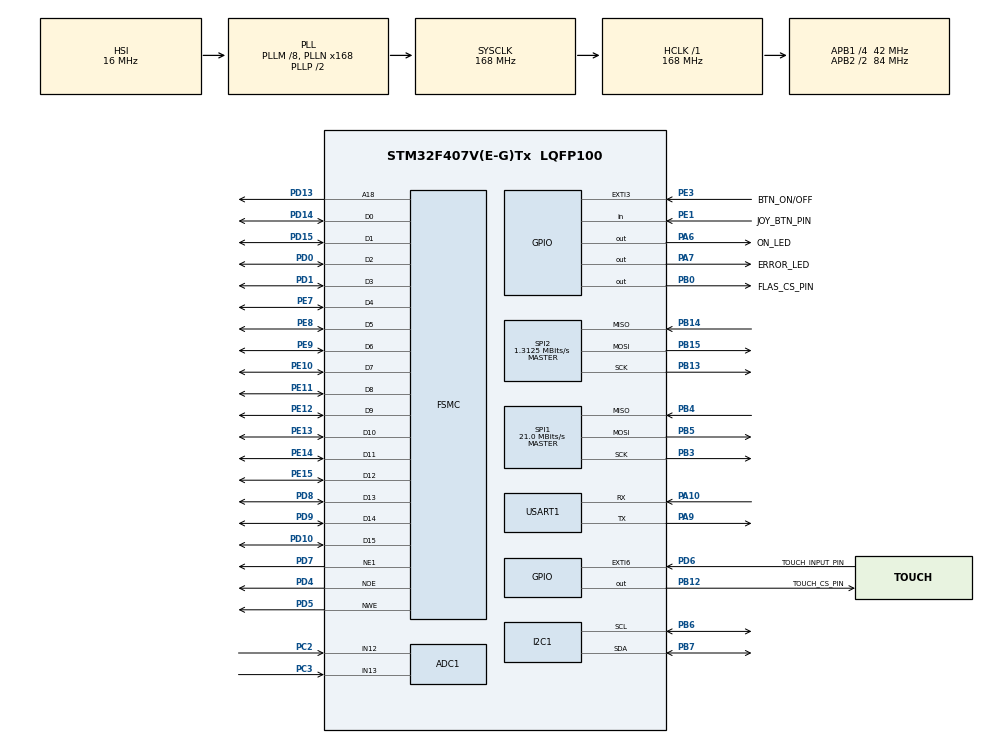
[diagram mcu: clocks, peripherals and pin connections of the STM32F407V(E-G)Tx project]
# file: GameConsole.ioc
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ADC1.Channel-1\#ChannelRegularConversion=ADC_CHANNEL_12
ADC1.Channel-2\#ChannelRegularConversion=ADC_CHANNEL_13
ADC1.ContinuousConvMode=ENABLE
ADC1.DMAContinuousRequests=ENABLE
ADC1.NbrOfConversion=2
ADC1.NbrOfConversionFlag=1
ADC1.Rank-1\#ChannelRegularConversion=1
ADC1.Rank-2\#ChannelRegularConversion=2
ADC1.SamplingTime-1\#ChannelRegularConversion=ADC_SAMPLETIME_84CYCLES
ADC1.SamplingTime-2\#ChannelRegularConversion=ADC_SAMPLETIME_84CYCLES
ADC1.master=1
Dma.ADC1.0.Direction=DMA_PERIPH_TO_MEMORY
Dma.ADC1.0.FIFOMode=DMA_FIFOMODE_ENABLE
Dma.ADC1.0.FIFOThreshold=DMA_FIFO_THRESHOLD_FULL
Dma.ADC1.0.Instance=DMA2_Stream0
Dma.ADC1.0.MemBurst=DMA_MBURST_SINGLE
Dma.ADC1.0.MemDataAlignment=DMA_MDATAALIGN_HALFWORD
Dma.ADC1.0.MemInc=DMA_MINC_ENABLE
Dma.ADC1.0.Mode=DMA_CIRCULAR
Dma.ADC1.0.PeriphBurst=DMA_PBURST_SINGLE
Dma.ADC1.0.PeriphDataAlignment=DMA_PDATAALIGN_HALFWORD
Dma.ADC1.0.PeriphInc=DMA_PINC_DISABLE
Dma.ADC1.0.Priority=DMA_PRIORITY_HIGH
Dma.Request0=ADC1
FREERTOS.BinarySemaphores01=wakeupSemaphoreHandler,Dynamic,NULL,Depleted
FREERTOS.Events01=gameEvents,Dynamic,NULL
FREERTOS.Queues01=joystickQueue,4,JoystickData_t,0,Dynamic,NULL,NULL
FREERTOS.Tasks01=inputTask,24,256,StartInputTask,Default,NULL,Dynamic,NULL,NULL;GameLogicTask,32,256,StartGameLogicTask,Default,NULL,Dynamic,NULL,NULL;RenderTask,24,512,StartRenderTask,Default,NULL,Dynamic,NULL,NULL;SensorTask,8,128,StartSensorTask,Default,NULL,Dynamic,NULL,NULL
FSMC.AddressSetupTime1=3
FSMC.BusTurnAroundDuration1=1
FSMC.DataSetupTime1=12
Mcu.Family=STM32F4
Mcu.Name=STM32F407V(E-G)Tx
Mcu.Package=LQFP100
Mcu.UserConstants=UART_TX_TIMEOUT,100;JOYSTICK_CENTER_MIN,1800;BMP280_I2C_ADDRESS,0x76;INPUT_TASK_PERIOD,50;UART_BAUD_RATE,115200;TFT_HEIGHT,240;EVENT_FLAG_GAMEOVER,(1U << 1);SENSOR_POLL_INTERVAL_MS,1000;JOYSTICK_CENTER_MAX,2200;TFT_WIDTH,320;RENDER_TASK_PERIOD,33;EVENT_FLAG_PAUSE,(1U << 0);LOGIC_TASK_PERIOD,20
NVIC.DMA2_Stream0_IRQn=true\:5\:0\:false\:false\:true\:true\:false\:true\:true
NVIC.EXTI3_IRQn=true\:5\:0\:false\:false\:true\:true\:true\:true\:true
NVIC.EXTI9_5_IRQn=true\:5\:0\:false\:false\:true\:true\:true\:true\:true
NVIC.PriorityGroup=NVIC_PRIORITYGROUP_4
NVIC.SPI1_IRQn=true\:5\:0\:false\:false\:true\:true\:true\:true\:true
NVIC.TIM6_DAC_IRQn=true\:15\:0\:false\:false\:true\:false\:false\:true\:true
NVIC.TimeBase=TIM6_DAC_IRQn
NVIC.TimeBaseIP=TIM6
NVIC.USART1_IRQn=true\:5\:0\:false\:false\:true\:true\:true\:true\:true
PA10.Mode=Asynchronous
PA10.Signal=USART1_RX
PA13.Mode=Serial_Wire
PA13.Signal=SYS_JTMS-SWDIO
PA14.Mode=Serial_Wire
PA14.Signal=SYS_JTCK-SWCLK
PA6.GPIO_Label=ON_LED
PA6.Signal=GPIO_Output
PA7.GPIO_Label=ERROR_LED
PA7.Signal=GPIO_Output
PA9.GPIO_PuPd=GPIO_PULLUP
PA9.Mode=Asynchronous
PA9.Signal=USART1_TX
PB0.GPIO_Label=FLAS_CS_PIN
PB0.GPIO_Speed=GPIO_SPEED_FREQ_VERY_HIGH
PB0.PinState=GPIO_PIN_SET
PB0.Signal=GPIO_Output
PB12.GPIO_Label=TOUCH_CS_PIN
PB12.GPIO_PuPd=GPIO_PULLUP
PB12.GPIO_Speed=GPIO_SPEED_FREQ_VERY_HIGH
PB12.PinState=GPIO_PIN_SET
PB12.Signal=GPIO_Output
PB13.Mode=Full_Duplex_Master
PB13.Signal=SPI2_SCK
PB14.Mode=Full_Duplex_Master
PB14.Signal=SPI2_MISO
PB15.Mode=Full_Duplex_Master
PB15.Signal=SPI2_MOSI
PB3.Mode=Full_Duplex_Master
PB3.Signal=SPI1_SCK
PB4.Mode=Full_Duplex_Master
PB4.Signal=SPI1_MISO
PB5.Mode=Full_Duplex_Master
PB5.Signal=SPI1_MOSI
PB6.Mode=I2C
PB6.Signal=I2C1_SCL
PB7.Mode=I2C
PB7.Signal=I2C1_SDA
PC2.Signal=ADCx_IN12
PC3.Signal=ADCx_IN13
PD0.Mode=16b-d1
PD0.Signal=FSMC_D2
PD1.Mode=16b-d1
PD1.Signal=FSMC_D3
PD10.Mode=16b-d1
PD10.Signal=FSMC_D15
PD13.Mode=A18_1
PD13.Signal=FSMC_A18
PD14.Mode=16b-d1
PD14.Signal=FSMC_D0
PD15.Mode=16b-d1
PD15.Signal=FSMC_D1
PD4.Mode=Lcd1
PD4.Signal=FSMC_NOE
PD5.Mode=Lcd1
PD5.Signal=FSMC_NWE
PD6.GPIO_Label=TOUCH_INPUT_PIN
PD6.GPIO_ModeDefaultEXTI=GPIO_MODE_IT_FALLING
PD6.GPIO_PuPd=GPIO_PULLUP
PD6.Signal=GPXTI6
PD7.Mode=NorPsramChipSelect1_1
PD7.Signal=FSMC_NE1
PD8.Mode=16b-d1
PD8.Signal=FSMC_D13
PD9.Mode=16b-d1
PD9.Signal=FSMC_D14
PE1.GPIO_Label=JOY_BTN_PIN
PE1.GPIO_PuPd=GPIO_PULLUP
PE1.Signal=GPIO_Input
PE10.Mode=16b-d1
PE10.Signal=FSMC_D7
PE11.Mode=16b-d1
PE11.Signal=FSMC_D8
PE12.Mode=16b-d1
PE12.Signal=FSMC_D9
PE13.Mode=16b-d1
PE13.Signal=FSMC_D10
PE14.Mode=16b-d1
PE14.Signal=FSMC_D11
PE15.Mode=16b-d1
PE15.Signal=FSMC_D12
PE3.GPIO_Label=BTN_ON/OFF
PE3.GPIO_ModeDefaultEXTI=GPIO_MODE_IT_FALLING
PE3.GPIO_PuPd=GPIO_PULLUP
PE3.Signal=GPXTI3
PE7.Mode=16b-d1
PE7.Signal=FSMC_D4
PE8.Mode=16b-d1
PE8.Signal=FSMC_D5
PE9.Mode=16b-d1
PE9.Signal=FSMC_D6
PH0-OSC_IN.Mode=HSE-External-Oscillator
PH0-OSC_IN.Signal=RCC_OSC_IN
PH1-OSC_OUT.Mode=HSE-External-Oscillator
PH1-OSC_OUT.Signal=RCC_OSC_OUT
ProjectManager.HeapSize=0x200
ProjectManager.StackSize=0x400
ProjectManager.TargetToolchain=CMake
RCC.48MHZClocksFreq_Value=84000000
RCC.AHBFreq_Value=168000000
RCC.APB1CLKDivider=RCC_HCLK_DIV4
RCC.APB1Freq_Value=42000000
RCC.APB1TimFreq_Value=84000000
RCC.APB2CLKDivider=RCC_HCLK_DIV2
RCC.APB2Freq_Value=84000000
RCC.APB2TimFreq_Value=168000000
RCC.CortexFreq_Value=168000000
RCC.HCLKFreq_Value=168000000
RCC.HSE_VALUE=8000000
RCC.HSI_VALUE=16000000
RCC.LSE_VALUE=32768
RCC.PLLM=8
RCC.PLLN=168
RCC.SYSCLKFreq_VALUE=168000000
RCC.SYSCLKSource=RCC_SYSCLKSOURCE_PLLCLK
RCC.VCOOutputFreq_Value=336000000
SH.ADCx_IN12.0=ADC1_IN12,IN12
SH.ADCx_IN13.0=ADC1_IN13,IN13
SPI1.BaudRatePrescaler=SPI_BAUDRATEPRESCALER_4
SPI1.CalculateBaudRate=21.0 MBits/s
SPI1.Direction=SPI_DIRECTION_2LINES
SPI1.Mode=SPI_MODE_MASTER
SPI1.VirtualType=VM_MASTER
SPI2.BaudRatePrescaler=SPI_BAUDRATEPRESCALER_32
SPI2.CalculateBaudRate=1.3125 MBits/s
SPI2.Direction=SPI_DIRECTION_2LINES
SPI2.Mode=SPI_MODE_MASTER
SPI2.VirtualType=VM_MASTER
USART1.VirtualMode=VM_ASYNC
VP_FREERTOS_VS_CMSIS_V2.Mode=CMSIS_V2
VP_SYS_VS_tim6.Mode=TIM6
board=custom

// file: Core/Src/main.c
/* USER CODE BEGIN Header */
/**
  ******************************************************************************
  * @file           : main.c
  * @brief          : Main program body
  ******************************************************************************
  * @attention
  *
  * Copyright (c) 2026 STMicroelectronics.
  * All rights reserved.
  *
  * This software is licensed under terms that can be found in the LICENSE file
  * in the root directory of this software component.
  * If no LICENSE file comes with this software, it is provided AS-IS.
  *
  ******************************************************************************
  */
/* USER CODE END Header */
#include "main.h"
#include "cmsis_os.h"
#include "adc.h"
#include "dma.h"
#include "i2c.h"
#include "spi.h"
#include "usart.h"
#include "gpio.h"
#include "fsmc.h"

/* USER CODE BEGIN Includes */
#include <stdio.h>
#include "lcd.h"
/* USER CODE END Includes */

/* USER CODE BEGIN PV */
volatile uint8_t enter_stop_requested = 0;
/* USER CODE END PV */

void SystemClock_Config(void);
void MX_FREERTOS_Init(void);

int main(void)
{

  /* MCU Configuration--------------------------------------------------------*/

  /* Reset of all peripherals, Initializes the Flash interface and the Systick. */
  HAL_Init();

  /* Configure the system clock */
  SystemClock_Config();

  /* Initialize all configured peripherals */
  MX_GPIO_Init();
  MX_DMA_Init();
  MX_ADC1_Init();
  MX_FSMC_Init();
  MX_SPI1_Init();
  MX_USART1_UART_Init();
  MX_I2C1_Init();
  MX_SPI2_Init();
  /* USER CODE BEGIN 2 */
  printf("\r\n========================================\r\n");
  printf("  CUBENIRO GAME CONSOLE STM32F407\r\n");
  printf("  Inizializzazione completata!\r\n");
  printf("========================================\r\n");
  /* USER CODE END 2 */

  /* Init scheduler */
  osKernelInitialize();  /* Call init function for freertos objects (in cmsis_os2.c) */
  MX_FREERTOS_Init();

  /* Start scheduler */
  osKernelStart();

  /* We should never get here as control is now taken by the scheduler */

  /* Infinite loop */
  /* USER CODE BEGIN WHILE */
  while (1)
  {
    Error_Handler();
    /* USER CODE END WHILE */

  }
}

void SystemClock_Config(void)
{
  RCC_OscInitTypeDef RCC_OscInitStruct = {0};
  RCC_ClkInitTypeDef RCC_ClkInitStruct = {0};

  /** Configure the main internal regulator output voltage
  */
  __HAL_RCC_PWR_CLK_ENABLE();
  __HAL_PWR_VOLTAGESCALING_CONFIG(PWR_REGULATOR_VOLTAGE_SCALE1);

  /** Initializes the RCC Oscillators according to the specified parameters
  * in the RCC_OscInitTypeDef structure.
  */
  RCC_OscInitStruct.OscillatorType = RCC_OSCILLATORTYPE_HSI;
  RCC_OscInitStruct.HSIState = RCC_HSI_ON;
  RCC_OscInitStruct.HSICalibrationValue = RCC_HSICALIBRATION_DEFAULT;
  RCC_OscInitStruct.PLL.PLLState = RCC_PLL_ON;
  RCC_OscInitStruct.PLL.PLLSource = RCC_PLLSOURCE_HSI;
  RCC_OscInitStruct.PLL.PLLM = 8;
  RCC_OscInitStruct.PLL.PLLN = 168;
  RCC_OscInitStruct.PLL.PLLP = RCC_PLLP_DIV2;
  RCC_OscInitStruct.PLL.PLLQ = 4;
  if (HAL_RCC_OscConfig(&RCC_OscInitStruct) != HAL_OK)
  {
    Error_Handler();
  }

  /** Initializes the CPU, AHB and APB buses clocks
  */
  RCC_ClkInitStruct.ClockType = RCC_CLOCKTYPE_HCLK|RCC_CLOCKTYPE_SYSCLK
                              |RCC_CLOCKTYPE_PCLK1|RCC_CLOCKTYPE_PCLK2;
  RCC_ClkInitStruct.SYSCLKSource = RCC_SYSCLKSOURCE_PLLCLK;
  RCC_ClkInitStruct.AHBCLKDivider = RCC_SYSCLK_DIV1;
  RCC_ClkInitStruct.APB1CLKDivider = RCC_HCLK_DIV4;
  RCC_ClkInitStruct.APB2CLKDivider = RCC_HCLK_DIV2;

  if (HAL_RCC_ClockConfig(&RCC_ClkInitStruct, FLASH_LATENCY_5) != HAL_OK)
  {
    Error_Handler();
  }
}

/* USER CODE BEGIN 4 */
void Enter_StopMode_Process(void)
{
  printf("[POWER] Tasto K1 premuto -> Entrata in STOP MODE (Standby)\r\n");
  printf("[POWER] Spegnimento LED e display LCD (Display OFF + Sleep In)...\r\n");
  HAL_GPIO_WritePin(ON_LED_GPIO_Port, ON_LED_Pin, GPIO_PIN_SET);
  HAL_GPIO_WritePin(ERROR_LED_GPIO_Port, ERROR_LED_Pin, GPIO_PIN_SET);

  LCD_Sleep();

  HAL_SuspendTick();
  HAL_PWR_EnterSTOPMode(PWR_MAINREGULATOR_ON, PWR_STOPENTRY_WFI);

  SystemClock_Config();
  HAL_ResumeTick();

  LCD_Wakeup();

  printf("[POWER] Risveglio da STOP MODE -> Ripristino periferiche, clock e display LCD (LEDs ON)\r\n");
  HAL_GPIO_WritePin(ON_LED_GPIO_Port, ON_LED_Pin, GPIO_PIN_RESET);
  HAL_GPIO_WritePin(ERROR_LED_GPIO_Port, ERROR_LED_Pin, GPIO_PIN_RESET);
}

/* USER CODE END 4 */

void HAL_TIM_PeriodElapsedCallback(TIM_HandleTypeDef *htim)
{
  if (htim->Instance == TIM6)
  {
    HAL_IncTick();
  }
}

void Error_Handler(void)
{
  /* USER CODE BEGIN Error_Handler_Debug */
  __disable_irq();

  // Show emergency red ERROR screen on LCD
  LCD_ShowError("HARDWARE / DRIVER FAULT");

  while (1)
  {
    HAL_GPIO_TogglePin(ERROR_LED_GPIO_Port, ERROR_LED_Pin);
    HAL_GPIO_TogglePin(ON_LED_GPIO_Port, ON_LED_Pin);
    printf("\r\n[ERROR] [CRITICO] ERRORE DI SISTEMA RILEVATO! (Error_Handler attivato)\r\n");
    printf("[ERROR] Avvio segnalazione allarme visivo su LED ERROR...\r\n");
    for (volatile uint32_t i = 0; i < 400000; i++) { }
  }
  /* USER CODE END Error_Handler_Debug */
}

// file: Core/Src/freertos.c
/* USER CODE BEGIN Header */
/**
  ******************************************************************************
  * File Name          : freertos.c
  * Description        : Code for freertos applications
  ******************************************************************************
  * @attention
  *
  * Copyright (c) 2026 STMicroelectronics.
  * All rights reserved.
  *
  * This software is licensed under terms that can be found in the LICENSE file
  * in the root directory of this software component.
  * If no LICENSE file comes with this software, it is provided AS-IS.
  *
  ******************************************************************************
  */
/* USER CODE END Header */

#include "FreeRTOS.h"
#include "task.h"
#include "main.h"
#include "cmsis_os.h"

/* USER CODE BEGIN Includes */
#include "adc.h"
#include "console.h"
#include "gpio.h"
#include "lcd.h"
#include "touch.h"
#include "external_flash.h"
#include "assets_data.h"
#include "bme280.h"
#include <stdio.h>
/* USER CODE END Includes */

/* USER CODE BEGIN Variables */
static Game_t game;
static Console_t console;

// Mutex protecting game and console data across tasks
osMutexId_t gameMutexHandle;
const osMutexAttr_t gameMutex_attributes = {
  .name = "gameMutex"
};

// Power management task and active low-power state flag
static volatile uint8_t stopModeActive = 0U;
osThreadId_t PowerManagerTaskHandle;
const osThreadAttr_t PowerManagerTask_attributes = {
  .name = "PowerManagerTask",
  .stack_size = 256 * 4,
  .priority = (osPriority_t) osPriorityAboveNormal,
};
/* USER CODE END Variables */
/* Definitions for inputTask */
osThreadId_t inputTaskHandle;
const osThreadAttr_t inputTask_attributes = {
  .name = "inputTask",
  .stack_size = 256 * 4,
  .priority = (osPriority_t) osPriorityNormal,
};
/* Definitions for GameLogicTask */
osThreadId_t GameLogicTaskHandle;
const osThreadAttr_t GameLogicTask_attributes = {
  .name = "GameLogicTask",
  .stack_size = 256 * 4,
  .priority = (osPriority_t) osPriorityAboveNormal,
};
/* Definitions for RenderTask */
osThreadId_t RenderTaskHandle;
const osThreadAttr_t RenderTask_attributes = {
  .name = "RenderTask",
  .stack_size = 512 * 4,
  .priority = (osPriority_t) osPriorityNormal,
};
/* Definitions for SensorTask */
osThreadId_t SensorTaskHandle;
const osThreadAttr_t SensorTask_attributes = {
  .name = "SensorTask",
  .stack_size = 512 * 4,
  .priority = (osPriority_t) osPriorityLow,
};
/* Definitions for joystickQueue */
osMessageQueueId_t joystickQueueHandle;
const osMessageQueueAttr_t joystickQueue_attributes = {
  .name = "joystickQueue"
};
/* Definitions for wakeupSemaphoreHandler */
osSemaphoreId_t wakeupSemaphoreHandlerHandle;
const osSemaphoreAttr_t wakeupSemaphoreHandler_attributes = {
  .name = "wakeupSemaphoreHandler"
};
/* Definitions for gameEvents */
osEventFlagsId_t gameEventsHandle;
const osEventFlagsAttr_t gameEvents_attributes = {
  .name = "gameEvents"
};

/* USER CODE BEGIN FunctionPrototypes */
void StartPowerManagerTask(void *argument);
static void handle_joystick_direction(const JoystickData_t *input);
static void handle_joystick_button(void);
/* USER CODE END FunctionPrototypes */

void StartInputTask(void *argument);
void StartGameLogicTask(void *argument);
void StartRenderTask(void *argument);
void StartSensorTask(void *argument);

void MX_FREERTOS_Init(void); /* (MISRA C 2004 rule 8.1) */

void MX_FREERTOS_Init(void) {
  /* USER CODE BEGIN Init */

  Console_Init(&console, &game);
  gameMutexHandle = osMutexNew(&gameMutex_attributes);

  /* USER CODE END Init */

  /* Create the semaphores(s) */
  /* creation of wakeupSemaphoreHandler */
  wakeupSemaphoreHandlerHandle = osSemaphoreNew(1, 0, &wakeupSemaphoreHandler_attributes);

  /* Create the queue(s) */
  /* creation of joystickQueue */
  joystickQueueHandle = osMessageQueueNew (4, sizeof(JoystickData_t), &joystickQueue_attributes);

  /* Create the thread(s) */
  /* creation of inputTask */
  inputTaskHandle = osThreadNew(StartInputTask, NULL, &inputTask_attributes);

  /* creation of GameLogicTask */
  GameLogicTaskHandle = osThreadNew(StartGameLogicTask, NULL, &GameLogicTask_attributes);

  /* creation of RenderTask */
  RenderTaskHandle = osThreadNew(StartRenderTask, NULL, &RenderTask_attributes);

  /* creation of SensorTask */
  SensorTaskHandle = osThreadNew(StartSensorTask, NULL, &SensorTask_attributes);

  /* USER CODE BEGIN RTOS_THREADS */
  /* add threads, ... */
  PowerManagerTaskHandle = osThreadNew(StartPowerManagerTask, NULL, &PowerManagerTask_attributes);
  /* USER CODE END RTOS_THREADS */

  /* Create the event(s) */
  /* creation of gameEvents */
  gameEventsHandle = osEventFlagsNew(&gameEvents_attributes);

}

void StartInputTask(void *argument)
{
  /* USER CODE BEGIN StartInputTask */
  (void) argument;
  uint8_t previousButton = 0U;
  /* Infinite loop */
  while (1)
  {
    JoystickData_t input = {0};
    ADC_ReadJoystick(&input.x, &input.y);
    input.buttonPressed = GPIO_ReadJoystickButton() == JOYSTICK_BUTTON_ACTIVE ? 1U : 0U;
    uint8_t buttonState = input.buttonPressed;
    input.buttonPressed = (buttonState != 0U && previousButton == 0U) ? 1U : 0U;
    previousButton = buttonState;
    osMessageQueuePut(joystickQueueHandle, &input, 0U, 0U);
    osDelay(JOYSTICK_SAMPLE_PERIOD_MS);
  }
  /* USER CODE END StartInputTask */
}

void StartGameLogicTask(void *argument)
{
  /* USER CODE BEGIN StartGameLogicTask */
  (void) argument;
  uint32_t lastUpdate = osKernelGetTickCount();
  const uint32_t period = LOGIC_TASK_PERIOD;
  /* Infinite loop */
  while (1)
  {
    if (osMutexAcquire(gameMutexHandle, osWaitForever) == osOK)
    {
      // 1. JOYSTICK INPUT
      JoystickData_t input = {0};
      while (osMessageQueueGet(joystickQueueHandle, &input, NULL, 0U) == osOK) {
        if (input.buttonPressed != 0U) {
          handle_joystick_button();
        } else {
          handle_joystick_direction(&input);
        }
      }

      // 1.1 TOUCH SCREEN INPUT (Tocca qualsiasi punto in OFF o START per avanzare allo step successivo)
      static bool touch_was_pressed = false;
      bool touch_now = Touch_IsPressed();

      // Debug periodico (ogni 3 secondi in stato OFF o START) per monitorare lo stato del pin PC5
      static uint32_t last_touch_debug_tick = 0U;
      uint32_t current_tick = osKernelGetTickCount();
      ConsoleState_t cState = Console_GetState(&console);
      if ((cState == CONSOLE_STATE_OFF || cState == CONSOLE_STATE_START) && (current_tick - last_touch_debug_tick >= 3000U)) {
        printf("[TOUCH MONITOR] PC5 (PENIRQ) = %d | Touch_IsPressed = %d\r\n",
               (int)HAL_GPIO_ReadPin(TOUCH_INPUT_PIN_GPIO_Port, TOUCH_INPUT_PIN_Pin), (int)touch_now);
        last_touch_debug_tick = current_tick;
      }

      if (touch_now && !touch_was_pressed) {
        printf("[TOUCH EVENT] Rilevata pressione dello schermo (PC5 LOW)!\r\n");
        if (cState == CONSOLE_STATE_OFF) {
          printf("[TOUCH] Schermo toccato in stato OFF -> Passaggio a LOAD\r\n");
          Console_HandleEvent(&console, &game, CONSOLE_EVENT_POWER, '\0');
        } else if (cState == CONSOLE_STATE_START) {
          printf("[TOUCH] Schermo toccato in stato START -> Passaggio a NAME\r\n");
          Console_HandleEvent(&console, &game, CONSOLE_EVENT_X, '\0');
        }
      }
      touch_was_pressed = touch_now;

      // 2. CONSOLE STATE MACHINE

      static ConsoleState_t last_logged_console_state = (ConsoleState_t)-1;
      ConsoleState_t currentState = Console_GetState(&console);
      if (currentState != last_logged_console_state) {
        const char *stateNames[] = {"OFF", "LOAD", "START", "NAME", "DIFFICULTY", "GAME", "LEADERBOARD"};
        printf("[CONSOLE] State changed to: %s\r\n",
               (currentState <= CONSOLE_STATE_LEADERBOARD) ? stateNames[currentState] : "UNKNOWN");
        last_logged_console_state = currentState;
      }

      static ConsoleState_t prev_check_state = CONSOLE_STATE_OFF;
      static uint32_t load_start_tick = 0U;

      if (currentState == CONSOLE_STATE_LOAD) {
        if (prev_check_state != CONSOLE_STATE_LOAD) {
          load_start_tick = osKernelGetTickCount();
        }

#if ENABLE_INTERNAL_ASSETS_DATA
        // In modalita' asset interni: passa a START solo se completata la verifica Flash al 100%
        // E sono trascorsi almeno 3 secondi per mostrare il logo Cubeniro
        if (ExternalFlash_AreAssetsLoaded() && ((osKernelGetTickCount() - load_start_tick) >= 3000U)) {
          printf("[LOAD] Caricamento Flash esterna verificato al 100%% -> passaggio a START\r\n");
          Console_HandleEvent(&console, &game, CONSOLE_EVENT_BUTTON_SELECT, '\0');
        }
#else
        // In modalita' Flash esterna gia' programmata: timeout standard di 5.0s
        else if ((osKernelGetTickCount() - load_start_tick) >= 5000U) {
          printf("[LOAD] Timeout 5.0s completato -> passaggio automatico a START\r\n");
          Console_HandleEvent(&console, &game, CONSOLE_EVENT_BUTTON_SELECT, '\0');
        }
#endif
      }
      prev_check_state = currentState;
      uint32_t now = osKernelGetTickCount();
      static uint32_t last_logged_score = 0U;
      static uint16_t last_logged_stage = 0U;
      if (Console_GetState(&console) == CONSOLE_STATE_GAME && game.state == GAME_STATE_RUNNING) {
        uint16_t moveInterval = Snake_GetMoveIntervalMs(&game);
        if (now - lastUpdate >= moveInterval) {
          Snake_Update(&game);
          lastUpdate = now;
        }
        if (game.score != last_logged_score || game.stage != last_logged_stage) {
          printf("[SNAKE] Score: %lu | Stage: %u | Length: %u\r\n",
                 (unsigned long)game.score, (unsigned int)game.stage, (unsigned int)game.snake.length);
          last_logged_score = game.score;
          last_logged_stage = game.stage;
        }
      } else {
        lastUpdate = now;
      }

      if (game.state == GAME_STATE_LEVEL_TRANSITION) {
        Snake_AdvanceTransition(&game, (uint16_t)period);
      }

      osMutexRelease(gameMutexHandle);
    }

    osDelay(period);
  }
  /* USER CODE END StartGameLogicTask */
}

void StartRenderTask(void *argument)
{
  /* USER CODE BEGIN StartRenderTask */
  (void) argument;

  LCD_Init();
  Touch_Init();
  ExternalFlash_Init();
  ExternalFlash_EnsureAssetsProgrammed();

  /* Infinite loop */
  while (1)
  {
    if (osMutexAcquire(gameMutexHandle, osWaitForever) == osOK) {
      LCD_Render(&game, &console);
      osMutexRelease(gameMutexHandle);
    }

    osDelay(RENDER_TASK_PERIOD);
  }
  /* USER CODE END StartRenderTask */
}

void StartSensorTask(void *argument)
{
  /* USER CODE BEGIN StartSensorTask */
  (void) argument;

  osDelay(150U);

  bool sensor_ready = false;

  /* Infinite loop */
  while (1)
  {
    // Leggiamo e stampiamo i dati del sensore SOLO quando la console e' in stato CONSOLE_STATE_OFF
    ConsoleState_t currState = Console_GetState(&console);

    if (currState == CONSOLE_STATE_OFF) {
      if (!sensor_ready) {
        sensor_ready = BME280_Init();
        if (sensor_ready) {
          BME280_Data_t initData;
          BME280_GetLatestData(&initData);
          if (initData.type == SENSOR_TYPE_BME280) {
            printf("[SENSOR] [CONNESSO] Sensore BME280 riconosciuto e attivo (T, P, RH)!\r\n");
          } else {
            printf("[SENSOR] [CONNESSO] Sensore BMP280 riconosciuto e attivo (T, P)!\r\n");
          }
        }
      } else {
        BME280_Data_t data;
        if (BME280_Read(&data)) {
          int32_t t_int = (int32_t)data.temperature;
          int32_t t_dec = (int32_t)((data.temperature - (float)t_int) * 10.0f);
          if (t_dec < 0) t_dec = -t_dec;

          int32_t p_int = (int32_t)data.pressure;
          int32_t p_dec = (int32_t)((data.pressure - (float)p_int) * 10.0f);
          if (p_dec < 0) p_dec = -p_dec;

          if (data.type == SENSOR_TYPE_BME280) {
            int32_t h_int = (int32_t)data.humidity;
            int32_t h_dec = (int32_t)((data.humidity - (float)h_int) * 10.0f);
            if (h_dec < 0) h_dec = -h_dec;

            printf("[SENSOR] BME280 -> Temp: %ld.%ld C | Press: %ld.%ld hPa | Umidita': %ld.%ld %%\r\n",
                   (long)t_int, (long)t_dec, (long)p_int, (long)p_dec, (long)h_int, (long)h_dec);
          } else {
            printf("[SENSOR] BMP280 -> Temp: %ld.%ld C | Press: %ld.%ld hPa\r\n",
                   (long)t_int, (long)t_dec, (long)p_int, (long)p_dec);
          }
        } else {
          printf("[SENSOR] [ERRORE] Comunicazione I2C persa, tentero' la riconnessione...\r\n");
          sensor_ready = false;
        }
      }
    }

    osDelay(2000U);
  }
  /* USER CODE END StartSensorTask */
}

/* USER CODE BEGIN Application */
void HAL_GPIO_EXTI_Callback(uint16_t GPIO_Pin)
{
  if (GPIO_Pin == BTN_ON_OFF_Pin && stopModeActive == 0U)
  {
    osSemaphoreRelease(wakeupSemaphoreHandlerHandle);
  }
}

//ON-OFF BUTTON TASK

void StartPowerManagerTask(void *argument)
{
  (void) argument;

  while (1)
  {
    osSemaphoreAcquire(wakeupSemaphoreHandlerHandle, osWaitForever);
    __HAL_GPIO_EXTI_CLEAR_IT(BTN_ON_OFF_Pin);
    NVIC_ClearPendingIRQ(BTN_ON_OFF_EXTI_IRQn);
    stopModeActive = 1U;

    // Safely wait for any in-flight frame rendering or SPI flash read to finish
    osMutexAcquire(gameMutexHandle, osWaitForever);
    vTaskSuspendAll();
    Enter_StopMode_Process();
    xTaskResumeAll();
    osMutexRelease(gameMutexHandle);

    stopModeActive = 0U;
  }
}

//HANDLE JOYSTICK INPUTS

static void handle_joystick_button(void)
{
  const char *stateNames[] = {"OFF", "LOAD", "START", "NAME", "DIFFICULTY", "GAME", "LEADERBOARD"};
  ConsoleState_t st = Console_GetState(&console);
  const char *stName = (st <= CONSOLE_STATE_LEADERBOARD) ? stateNames[st] : "UNKNOWN";
  printf("[INPUT] JOYSTICK BTN X premuto (Stato: %s)\r\n", stName);

  switch (st) {
    case CONSOLE_STATE_OFF:
      Console_HandleEvent(&console, &game, CONSOLE_EVENT_POWER, '\0');
      break;
    case CONSOLE_STATE_LOAD:
      Console_HandleEvent(&console, &game, CONSOLE_EVENT_BUTTON_SELECT, '\0');
      break;
    case CONSOLE_STATE_START:
      Console_HandleEvent(&console, &game, CONSOLE_EVENT_X, '\0');
      break;
    case CONSOLE_STATE_NAME:
      Console_HandleEvent(&console, &game, CONSOLE_EVENT_BUTTON_SELECT, '\0');
      break;
    case CONSOLE_STATE_DIFFICULTY:
      Console_HandleEvent(&console, &game, CONSOLE_EVENT_BUTTON_SELECT, '\0');
      break;
    case CONSOLE_STATE_GAME:
      Console_HandleEvent(&console, &game, CONSOLE_EVENT_BUTTON_SELECT, '\0');
      break;
    case CONSOLE_STATE_LEADERBOARD:
      Console_HandleEvent(&console, &game, CONSOLE_EVENT_BUTTON_SELECT, '\0');
      break;
    default:
      break;
  }
}

static void handle_joystick_direction(const JoystickData_t *input)
{
  if (input == NULL) return;
  uint16_t x = input->x;
  uint16_t y = input->y;

  int32_t dx = (int32_t)x - 2048;
  int32_t dy = (int32_t)y - 2048;

  int32_t abs_dx = (dx >= 0) ? dx : -dx;
  int32_t abs_dy = (dy >= 0) ? dy : -dy;

  static uint8_t menu_held = 0U;
  static int8_t last_logged_dir = -1;
  ConsoleState_t cState = Console_GetState(&console);

  #define JOY_SECTOR_DEADZONE 350
  if (abs_dx < JOY_SECTOR_DEADZONE && abs_dy < JOY_SECTOR_DEADZONE) {

    menu_held = 0U;
    last_logged_dir = -1;
    return;
  }

  uint8_t left_deflected  = 0U;
  uint8_t right_deflected = 0U;
  uint8_t up_deflected    = 0U;
  uint8_t down_deflected  = 0U;
  int8_t current_dir = -1;

  if (abs_dx >= abs_dy) {
    //Left o Right
    if (dx > 0) {
      left_deflected = 1U;
      current_dir = 2; // LEFT
    } else {
      right_deflected = 1U;
      current_dir = 3; // RIGHT
    }
  } else {
    // Up o Down
    if (dy > 0) {
      down_deflected = 1U;
      current_dir = 1; // DOWN
    } else {
      up_deflected = 1U;
      current_dir = 0; // UP
    }
  }

  // LOG
  if (current_dir != last_logged_dir) {
    const char *dirNames[] = {"UP", "DOWN", "LEFT", "RIGHT"};
    if (current_dir >= 0 && current_dir < 4) {
      printf("[INPUT] JOYSTICK DIR: %s\r\n", dirNames[current_dir]);
    }
    last_logged_dir = current_dir;
  }

  if (cState == CONSOLE_STATE_NAME ||
      cState == CONSOLE_STATE_DIFFICULTY ||
      cState == CONSOLE_STATE_LEADERBOARD ||
      (cState == CONSOLE_STATE_GAME && (game.state == GAME_STATE_PAUSED || game.state == GAME_STATE_GAMEOVER))) {

    if (menu_held == 0U) {
      if (up_deflected != 0U) {
        Console_HandleEvent(&console, &game, CONSOLE_EVENT_UP, '\0');
        menu_held = 1U;
      } else if (down_deflected != 0U) {
        Console_HandleEvent(&console, &game, CONSOLE_EVENT_DOWN, '\0');
        menu_held = 1U;
      } else if (left_deflected != 0U) {
        Console_HandleEvent(&console, &game, CONSOLE_EVENT_LEFT, '\0');
        menu_held = 1U;
      } else if (right_deflected != 0U) {
        Console_HandleEvent(&console, &game, CONSOLE_EVENT_RIGHT, '\0');
        menu_held = 1U;
      }
    }
    return;
  }

  if (cState != CONSOLE_STATE_GAME) return;

  if (up_deflected != 0U) Console_HandleEvent(&console, &game, CONSOLE_EVENT_UP, '\0');
  else if (down_deflected != 0U) Console_HandleEvent(&console, &game, CONSOLE_EVENT_DOWN, '\0');
  else if (left_deflected != 0U) Console_HandleEvent(&console, &game, CONSOLE_EVENT_LEFT, '\0');
  else if (right_deflected != 0U) Console_HandleEvent(&console, &game, CONSOLE_EVENT_RIGHT, '\0');
}
/* USER CODE END Application */
